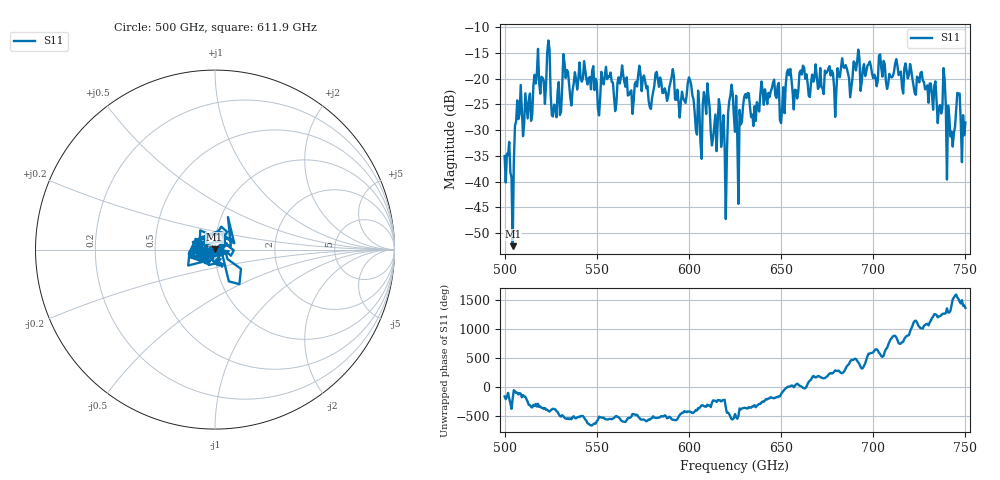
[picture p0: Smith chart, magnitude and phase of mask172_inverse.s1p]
!Created with skrf (http://scikit-rf.org).
# GHz S MA R 50.0
!freq magS11 angS11
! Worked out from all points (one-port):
!   401 points, 500 GHz to 750 GHz, reference 50 ohm
!   lowest |S11| = -52.5 dB at 504.4 GHz (marker M1), VSWR 1.00, Z = 49.8 + j0.0949 ohm
!   |S11| at or under -10 dB: start of sweep to end of sweep
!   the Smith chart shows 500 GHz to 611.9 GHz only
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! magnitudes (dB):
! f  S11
! 500 GHz  -35.0
! 504.4 GHz  -52.5
! 507.5 GHz  -27.8
! 513.8 GHz  -22.9
! 516.9 GHz  -20.9
! 523.8 GHz  -12.6
! 526.9 GHz  -25.0
! 531.2 GHz  -21.7
! 562.5 GHz  -20.9
! 593.8 GHz  -22.1
! 600.6 GHz  -20.3
! 605.6 GHz  -25.7
! 609.4 GHz  -26.8
! 613.8 GHz  -29.1
! 617.5 GHz  -33.2
! 619.4 GHz  -33.2
! 622.5 GHz  -23.2
! 625 GHz  -30.3
! 627.5 GHz  -26.1
! 631.2 GHz  -23.8
! 635 GHz  -29.2
! 656.2 GHz  -22.6
! 687.5 GHz  -23.6
! 718.8 GHz  -19.9
! 738.1 GHz  -17.9
! 741.2 GHz  -27.3
! 746.2 GHz  -23.0
! 750 GHz  -28.5
